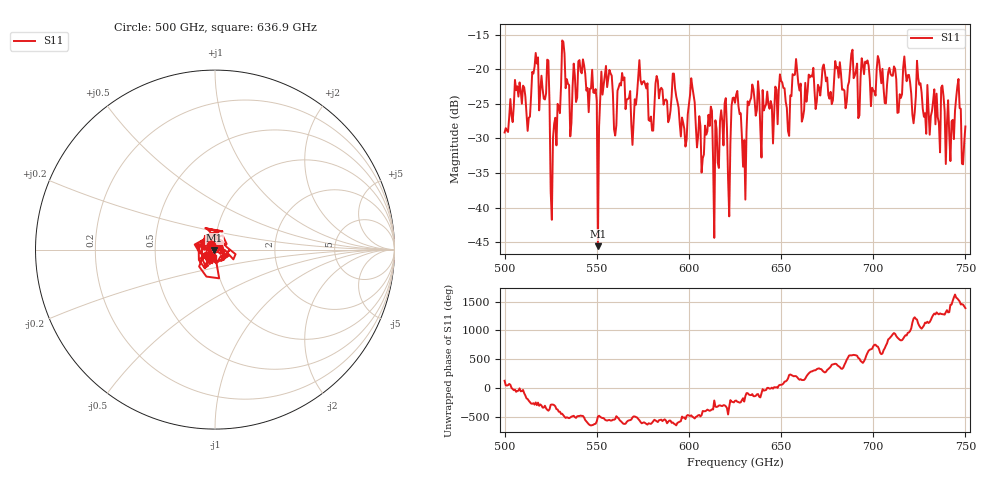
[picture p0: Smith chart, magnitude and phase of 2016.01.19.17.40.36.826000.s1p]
!Created with skrf (http://scikit-rf.org).
# GHz S RI R 50.0
!freq ReS11 ImS11
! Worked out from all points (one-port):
!   401 points, 500 GHz to 750 GHz, reference 50 ohm
!   lowest |S11| = -45.6 dB at 550.6 GHz (marker M1), VSWR 1.01, Z = 49.7 - j0.397 ohm
!   |S11| at or under -10 dB: start of sweep to end of sweep
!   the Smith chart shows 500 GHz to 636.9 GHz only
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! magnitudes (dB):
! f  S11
! 500 GHz  -29.1
! 506.9 GHz  -22.5
! 513.1 GHz  -27.0
! 516.9 GHz  -17.6
! 523.1 GHz  -18.6
! 526.2 GHz  -30.0
! 531.2 GHz  -15.8
! 535.6 GHz  -29.7
! 548.1 GHz  -23.4
! 550.6 GHz  -45.6
! 553.8 GHz  -22.2
! 560 GHz  -29.6
! 562.5 GHz  -22.0
! 593.8 GHz  -24.7
! 598.1 GHz  -31.2
! 601.9 GHz  -22.6
! 615 GHz  -28.6
! 618.8 GHz  -31.0
! 621.9 GHz  -41.3
! 625 GHz  -24.9
! 630 GHz  -30.2
! 633.8 GHz  -24.1
! 656.2 GHz  -20.7
! 687.5 GHz  -19.8
! 718.8 GHz  -20.9
! 740.6 GHz  -24.5
! 746.2 GHz  -21.4
! 750 GHz  -28.3
